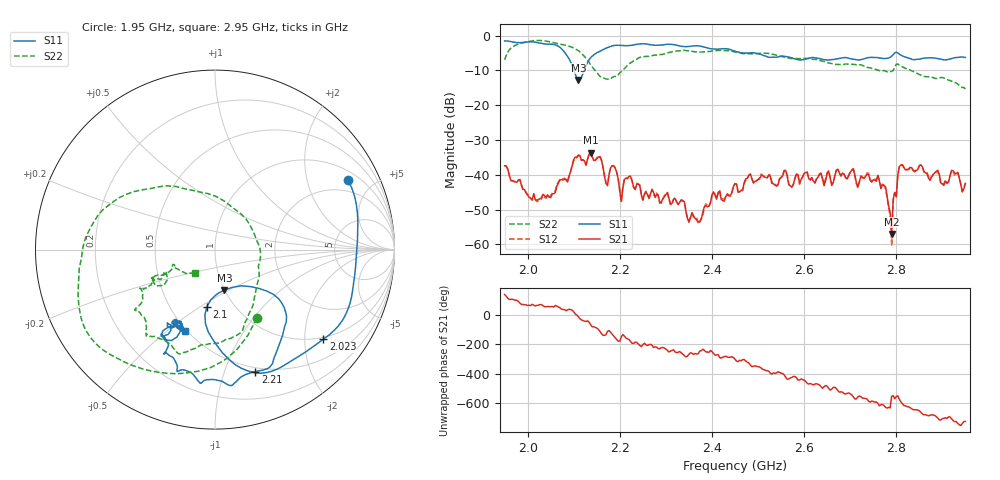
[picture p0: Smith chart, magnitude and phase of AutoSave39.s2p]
!Agilent N9923A: A.07.32
!Date: Thursday, 02 June 2016 23:38:02
!Model: N9923A
!Serial: MY52412257
!GPS Latitude:
!GPS Longitude:
!GPS TimeStamp: 0001-01-01 00:00:00Z
!GPS Seconds Since Last Read: 0
!CHECKSUM:1535708344
!Correction: S11(ON U)S21(ON U)S12(ON U)S22(ON U)
!S2P File: Measurements:S11,S21,S12,S22:
# Hz S DB R 50
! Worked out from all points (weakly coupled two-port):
!   301 points, 1.95 GHz to 2.95 GHz, reference 50 ohm
!   highest |S21| = -33.60 dB at 2.137 GHz (marker M1); lowest = -57.0 dB at 2.79 GHz (marker M2)
!   lowest |S11| = -12.7 dB at 2.11 GHz (marker M3), VSWR 1.60, Z = 50 - j23.7 ohm
!   |S11| at or under -10 dB: 2.1 GHz to 2.123 GHz (22.26 MHz wide, 1.05 % of centre)
!   |S22| runs from -15.3 to -1.4 dB; largest |S21 - S12| = 0.00087
!   S11 on the Smith chart (normalised r, x): 1.95 GHz: 1.37, +3.55; 2.023 GHz: 0.95, -2.46; 2.1 GHz: 0.75, -0.53; 2.21 GHz: 0.46, -1.28; 2.95 GHz: 0.49, -0.58
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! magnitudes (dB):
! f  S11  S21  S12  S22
! 1.95 GHz  -1.6  -37.4  -37.4  -7.0
! 2.023 GHz  -2.1  -47.1  -47.4  -1.4
! 2.087 GHz  -6.0  -42.0  -41.9  -3.0
! 2.1 GHz  -9.9  -35.6  -35.9  -3.6
! 2.11 GHz  -12.7  -34.3  -34.4  -4.3
! 2.12 GHz  -10.9  -35.7  -35.7  -5.5
! 2.137 GHz  -6.4  -33.6  -33.6  -8.4
! 2.173 GHz  -3.5  -43.1  -42.8  -12.6
! 2.19 GHz  -2.8  -38.0  -38.0  -11.7
! 2.203 GHz  -2.8  -47.6  -47.8  -10.4
! 2.21 GHz  -2.9  -41.4  -41.1  -9.5
! 2.287 GHz  -2.8  -47.9  -48.1  -5.5
! 2.37 GHz  -3.0  -53.5  -54.1  -4.7
! 2.403 GHz  -3.8  -44.9  -45.0  -4.4
! 2.453 GHz  -4.6  -42.6  -42.7  -4.8
! 2.62 GHz  -6.3  -41.8  -41.9  -6.9
! 2.76 GHz  -6.4  -40.2  -40.0  -9.9
! 2.783 GHz  -6.5  -48.8  -49.7  -10.5
! 2.79 GHz  -5.9  -57.0  -60.5  -10.3
! 2.793 GHz  -5.5  -47.0  -47.4  -10.0
! 2.807 GHz  -5.4  -37.6  -37.4  -8.5
! 2.95 GHz  -6.3  -42.5  -42.3  -15.3
